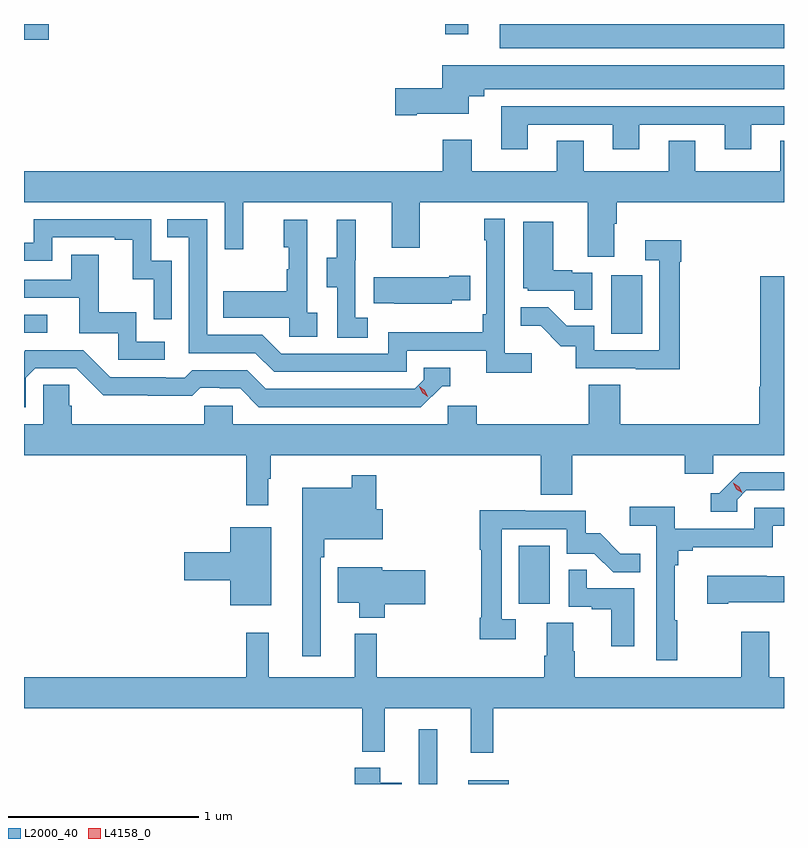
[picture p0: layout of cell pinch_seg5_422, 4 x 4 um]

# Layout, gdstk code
import gdstk
lib = gdstk.Library(unit=1e-6, precision=1e-09)
def R(c, l, rs):  # rectangles x0, y0, x1, y1
    for r in rs: c.add(gdstk.rectangle(r[:2], r[2:], *l))
def P(c, l, *ps):  # polygons
    for p in ps: c.add(gdstk.Polygon(p, *l))
L2000_40 = (2000, 40)
L4158_0 = (4158, 0)

pinch_seg5_422 = lib.new_cell('pinch_seg5_422')
R(pinch_seg5_422, L2000_40, [(977.091,861.69,977.188,861.979), (977.351,861.69,977.566,861.709), (977.618,862.638,977.782,862.945), (978.104,864.06,978.268,864.367), (975.014,864.066,975.136,864.159), (977.519,865.562,979.014,865.69), (975.014,865.607,975.145,865.69), (977.232,865.635,977.353,865.69)])
P(pinch_seg5_422, L2000_40, [(977.08,865.217),(977.356,865.217),(977.356,865.31),(977.437,865.31),(977.437,865.346),(979.014,865.346),(979.014,865.474),(977.216,865.474),(977.216,865.352),(976.968,865.352),(976.968,865.21),(977.08,865.21)],
  [(977.665,865.161),(978.113,865.161),(978.113,865.032),(978.253,865.032),(978.253,865.161),(978.701,865.161),(978.701,865.032),(978.841,865.032),(978.841,865.161),(979.014,865.161),(979.014,865.257),(977.525,865.257),(977.525,865.032),(977.665,865.032)],
  [(978.121,864.64),(978.134,864.64),(978.134,864.752),(979.014,864.752),(979.014,865.076),(978.995,865.076),(978.995,864.916),(978.547,864.916),(978.547,865.076),(978.407,865.076),(978.407,864.916),(977.959,864.916),(977.959,865.076),(977.819,865.076),(977.819,864.916),(977.371,864.916),(977.371,865.081),(977.219,865.081),(977.219,864.916),(975.014,864.916),(975.014,864.752),(976.071,864.752),(976.071,864.504),(976.169,864.504),(976.169,864.752),(976.949,864.752),(976.949,864.513),(977.097,864.513),(977.097,864.752),(977.981,864.752),(977.981,864.466),(978.121,864.466)],
  [(977.686,863.956),(977.544,863.956),(977.544,864.664),(977.436,864.664),(977.436,864.551),(977.448,864.551),(977.448,864.163),(977.428,864.163),(977.428,864.067),(976.932,864.067),(976.932,863.955),(976.368,863.955),(976.269,864.054),(975.978,864.054),(975.978,864.663),(975.769,864.663),(975.769,864.567),(975.882,864.567),(975.882,863.958),(976.232,863.958),(976.331,863.859),(977.028,863.859),(977.028,863.97),(977.447,863.97),(977.447,863.854),(977.686,863.854)],
  [(975.792,864.444),(975.684,864.444),(975.684,864.663),(975.066,864.663),(975.066,864.54),(975.014,864.54),(975.014,864.444),(975.162,864.444),(975.162,864.567),(975.491,864.567),(975.491,864.555),(975.587,864.555),(975.587,864.347),(975.696,864.347),(975.696,864.135),(975.792,864.135)],
  [(976.558,864.17),(976.506,864.17),(976.506,864.661),(976.382,864.661),(976.382,864.516),(976.408,864.516),(976.408,864.398),(976.398,864.398),(976.398,864.283),(976.063,864.283),(976.063,864.143),(976.41,864.143),(976.41,864.045),(976.558,864.045)],
  [(976.822,864.143),(976.758,864.143),(976.758,864.447),(976.76,864.447),(976.76,864.661),(976.661,864.661),(976.661,864.459),(976.607,864.459),(976.607,864.304),(976.662,864.304),(976.662,864.04),(976.822,864.04)],
  [(978.006,864.381),(977.9,864.381),(977.9,864.394),(977.8,864.394),(977.8,864.649),(977.642,864.649),(977.642,864.3),(977.664,864.3),(977.664,864.285),(977.911,864.285),(977.911,864.187),(978.006,864.187)],
  [(978.466,864.44),(978.473,864.44),(978.473,864.553),(978.285,864.553),(978.285,864.447),(978.357,864.447),(978.357,863.973),(978.015,863.973),(978.015,864.102),(977.871,864.102),(977.773,864.2),(977.629,864.2),(977.629,864.101),(977.733,864.101),(977.84,863.994),(977.917,863.994),(977.917,863.877),(978.235,863.877),(978.235,863.872),(978.466,863.872)],
  [(975.754,864.018),(975.606,864.018),(975.606,864.172),(975.407,864.172),(975.407,864.475),(975.263,864.475),(975.263,864.345),(975.014,864.345),(975.014,864.249),(975.305,864.249),(975.305,864.063),(975.51,864.063),(975.51,863.922),(975.754,863.922)],
  [(977.265,864.236),(977.363,864.236),(977.363,864.366),(977.252,864.366),(977.252,864.358),(976.855,864.358),(976.855,864.221),(976.963,864.221),(976.963,864.218),(977.265,864.218)],
  [(977.735,863.212),(977.9,863.212),(977.9,863.42),(978.491,863.42),(978.491,863.322),(978.642,863.322),(978.642,863.42),(979.014,863.42),(979.014,864.363),(978.889,864.363),(978.889,863.78),(978.884,863.78),(978.884,863.584),(978.152,863.584),(978.152,863.792),(977.987,863.792),(977.987,863.584),(977.396,863.584),(977.396,863.682),(977.244,863.682),(977.244,863.584),(976.113,863.584),(976.113,863.682),(975.963,863.682),(975.963,863.584),(975.266,863.584),(975.266,863.682),(975.251,863.682),(975.251,863.792),(975.114,863.792),(975.114,863.584),(975.014,863.584),(975.014,863.42),(976.183,863.42),(976.183,863.157),(976.3,863.157),(976.3,863.297),(976.312,863.297),(976.312,863.42),(977.735,863.42)],
  [(975.024,863.829),(975.072,863.877),(975.288,863.877),(975.43,863.735),(975.666,863.735),(975.666,863.733),(975.899,863.733),(975.941,863.775),(976.044,863.775),(976.044,863.772),(976.151,863.772),(976.25,863.673),(977.103,863.673),(977.214,863.784),(977.257,863.784),(977.257,863.88),(977.118,863.88),(977.118,863.817),(977.07,863.769),(976.287,863.769),(976.188,863.868),(975.899,863.868),(975.86,863.829),(975.761,863.829),(975.761,863.832),(975.468,863.832),(975.327,863.973),(975.021,863.973),(975.014,863.966),(975.014,863.673),(975.024,863.673)],
  [(978.768,863.187),(978.816,863.235),(979.014,863.235),(979.014,863.331),(978.783,863.331),(978.672,863.22),(978.629,863.22),(978.629,863.124),(978.768,863.124)],
  [(976.575,862.883),(976.595,862.883),(976.595,862.979),(976.903,862.979),(976.903,863.137),(976.868,863.137),(976.868,863.314),(976.74,863.314),(976.74,863.248),(976.478,863.248),(976.478,862.362),(976.575,862.362)],
  [(978.451,862.553),(978.439,862.553),(978.439,862.841),(978.458,862.841),(978.458,862.918),(978.535,862.918),(978.535,862.937),(978.954,862.937),(978.954,863.049),(979.014,863.049),(979.014,863.145),(978.858,863.145),(978.858,863.034),(978.44,863.034),(978.44,863.15),(978.201,863.15),(978.201,863.048),(978.342,863.048),(978.342,862.341),(978.451,862.341)],
  [(977.602,862.557),(977.529,862.557),(977.529,863.031),(977.871,863.031),(977.871,862.902),(978.016,862.902),(978.114,862.804),(978.257,862.804),(978.257,862.903),(978.153,862.903),(978.046,863.01),(977.97,863.01),(977.97,863.127),(977.651,863.127),(977.651,863.132),(977.413,863.132),(977.413,862.924),(977.421,862.924),(977.421,862.564),(977.413,862.564),(977.413,862.452),(977.602,862.452)],
  [(976.315,863.041),(976.1,863.041),(976.1,862.91),(975.858,862.91),(975.858,862.763),(976.1,862.763),(976.1,862.631),(976.315,862.631)],
  [(976.913,862.636),(977.125,862.636),(977.125,862.814),(976.9,862.814),(976.9,862.831),(976.664,862.831),(976.664,862.643),(976.778,862.643),(976.778,862.565),(976.913,862.565)],
  [(978.226,862.719),(977.975,862.719),(977.975,862.817),(977.88,862.817),(977.88,862.623),(978.001,862.623),(978.001,862.611),(978.104,862.611),(978.104,862.416),(978.226,862.416)],
  [(978.721,862.646),(979.014,862.646),(979.014,862.783),(978.923,862.783),(978.923,862.786),(978.609,862.786),(978.609,862.639),(978.721,862.639)],
  [(977.483,862.088),(979.014,862.088),(979.014,862.252),(978.937,862.252),(978.937,862.492),(978.79,862.492),(978.79,862.252),(977.913,862.252),(977.913,862.389),(977.905,862.389),(977.905,862.538),(977.765,862.538),(977.765,862.364),(977.753,862.364),(977.753,862.252),(976.871,862.252),(976.871,862.48),(976.754,862.48),(976.754,862.252),(976.301,862.252),(976.301,862.486),(976.183,862.486),(976.183,862.252),(975.014,862.252),(975.014,862.088),(976.795,862.088),(976.795,861.86),(976.913,861.86),(976.913,862.088),(977.366,862.088),(977.366,861.855),(977.483,861.855)],
  [(977.002,861.697),(976.888,861.697),(976.888,861.775),(976.754,861.775),(976.754,861.69),(977.002,861.69)])
P(pinch_seg5_422, L4158_0, [(978.793,863.222),(978.763,863.242),(978.747,863.275),(978.747,863.275),(978.748,863.275),(978.778,863.255),(978.793,863.222),(978.793,863.222)],
  [(977.14,863.729),(977.109,863.749),(977.093,863.782),(977.093,863.783),(977.093,863.783),(977.124,863.763),(977.14,863.73),(977.14,863.729)])

lib.write_gds('pinch_seg5_422.gds')
